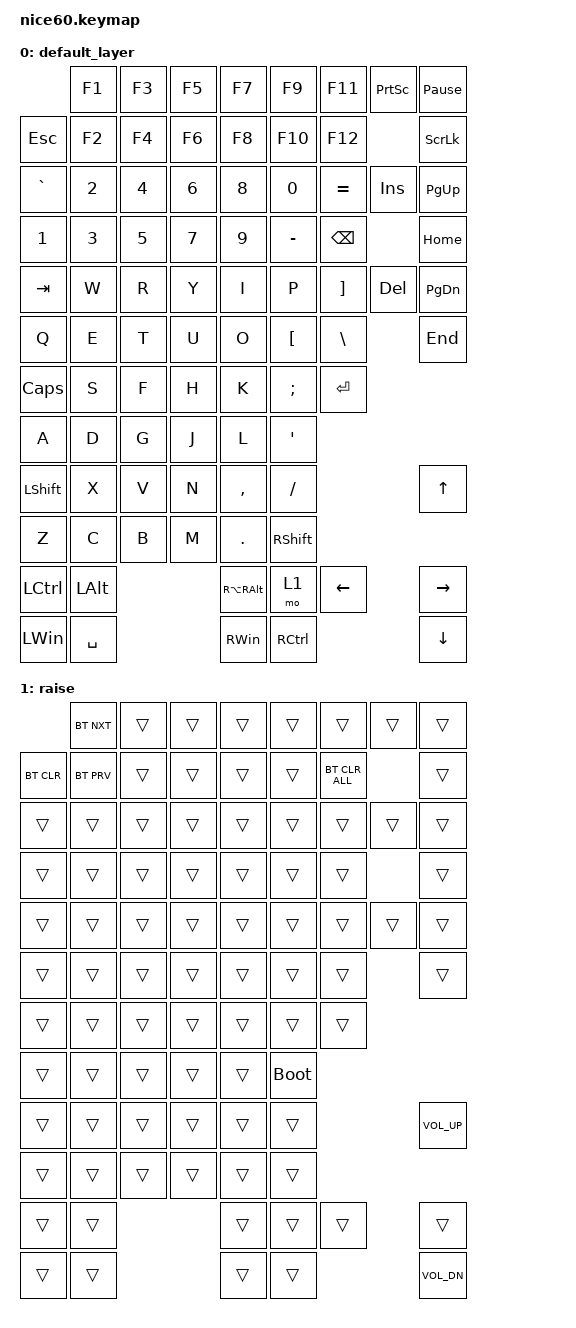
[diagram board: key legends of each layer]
#include <behaviors.dtsi>
#include <dt-bindings/zmk/bt.h>
#include <dt-bindings/zmk/keys.h>

#define ANSI

/ {
    keymap {
        compatible = "zmk,keymap";

        default_layer {
            // -------------------------------------------------------------------------------------------------------------
            // | ESC | F1  | F2  | F3  | F4  | F5  | F6  | F7  | F9  | F9  | F10 | F11 | F12 |PSCRN|SLCK| PAUSE_BREAK |
            // |GRAVE|  1  |  2  |  3  |  4  |  5  |  6  |  7  |  8  |  9  |  0  |  -  |  =  |   BSPC   | INS | HOME | PG_UP|
            // | TAB   |  Q  |  W  |  E  |  R  |  T  |  Y  |  U  |  I  |  O  |  P  |  [  |  ]  |   \    | DEL | END | PG_DN|
            // | CAPS   |  A  |  S  |  D  |  F  |  G  |  H  |  J  |  K  |  L  |  ;  |  '  |    ENTER    |
            // |  SHIFT   |  Z  |  X  |  C  |  V  |  B  |  N  |  M  |  ,  |  .  |  /  |   SHIFT   | UP  |
            // |  CTL  |  WIN  |  ALT  |             SPACE                | ALT |  WIN  |RCTRL| LEFT| DOWN|RIGHT|
            // --------------------------------------------------------------------------------------------------------------

            bindings = <
              &kp F1        &kp F3  &kp F5  &kp F7             &kp F9            &kp F11            &kp PSCRN  &kp PAUSE_BREAK
&kp ESC       &kp F2        &kp F4  &kp F6  &kp F8             &kp F10           &kp F12                       &kp SCROLLLOCK
&kp GRAVE     &kp N2        &kp N4  &kp N6  &kp N8             &kp N0            &kp EQUAL          &kp INS    &kp PAGE_UP
&kp N1        &kp N3        &kp N5  &kp N7  &kp N9             &kp MINUS         &kp BACKSPACE                 &kp HOME
&kp TAB       &kp W         &kp R   &kp Y   &kp I              &kp P             &kp RIGHT_BRACKET  &kp DEL    &kp PAGE_DOWN
&kp Q         &kp E         &kp T   &kp U   &kp O              &kp LEFT_BRACKET  &kp BACKSLASH                 &kp END
&kp CLCK      &kp S         &kp F   &kp H   &kp K              &kp SEMICOLON     &kp ENTER
&kp A         &kp D         &kp G   &kp J   &kp L              &kp SQT
&kp LSHFT     &kp X         &kp V   &kp N   &kp COMMA          &kp SLASH                                       &kp UP_ARROW
&kp Z         &kp C         &kp B   &kp M   &kp PERIOD         &kp RIGHT_SHIFT
&kp LCTRL     &kp LEFT_ALT                  &kp RA(RIGHT_ALT)  &mo 1             &kp LEFT_ARROW                &kp RIGHT
&kp LEFT_WIN  &kp SPACE                     &kp RIGHT_WIN      &kp RCTRL                                       &kp DOWN_ARROW
            >;
        };

        raise {
            // --------------------------------------------------------------------------------------------------
            // | ESC | F1  | F2  | F3  | F4  | F5  | F6  | F7  | F9  | F9  | F10 | F11 | F12 |PSCRN| SLCK| PAUSE_BREAK |
            // |GRAVE|  1  |  2  |  3  |  4  |  5  |  6  |  7  |  8  |  9  |  0  |  -  |  =  |  BL_TOG  | INS | HOME |PG_UP|
            // | TAB  |  Q  |  W  |  E  | R  | T  |  Y  |  U  |  I  |  O  |  P  | [ |  ]  |  \   | DEL| END| PG_DN |
            // | CAPS  |  A  |  S  |  D  | F | G |  H  |  J  |  K  |  L  |  ;  |  '  |     BOOT      |
            // |  SHIFT   |VOLDN|VOLUP| MUTE|  V  |  B  |  N  |  M  |  ,  |  .  |  /  |    SHIFT  | UP   |
            // | BT_PRV| BT_NXT|  ALT  |            SPACE               | ALT |  WIN  | CTRL | LEFT | DOWN |BT_CLR|
            // --------------------------------------------------------------------------------------------------

            bindings = <
            &bt BT_NXT  &trans  &trans  &trans  &trans       &trans          &trans  &trans
&bt BT_CLR  &bt BT_PRV  &trans  &trans  &trans  &trans       &bt BT_CLR_ALL          &trans
&trans      &trans      &trans  &trans  &trans  &trans       &trans          &trans  &trans
&trans      &trans      &trans  &trans  &trans  &trans       &trans                  &trans
&trans      &trans      &trans  &trans  &trans  &trans       &trans          &trans  &trans
&trans      &trans      &trans  &trans  &trans  &trans       &trans                  &trans
&trans      &trans      &trans  &trans  &trans  &trans       &trans
&trans      &trans      &trans  &trans  &trans  &bootloader
&trans      &trans      &trans  &trans  &trans  &trans                               &kp C_VOL_UP
&trans      &trans      &trans  &trans  &trans  &trans
&trans      &trans                      &trans  &trans       &trans                  &trans
&trans      &trans                      &trans  &trans                               &kp C_VOL_DN
            >;
        };
    };
};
